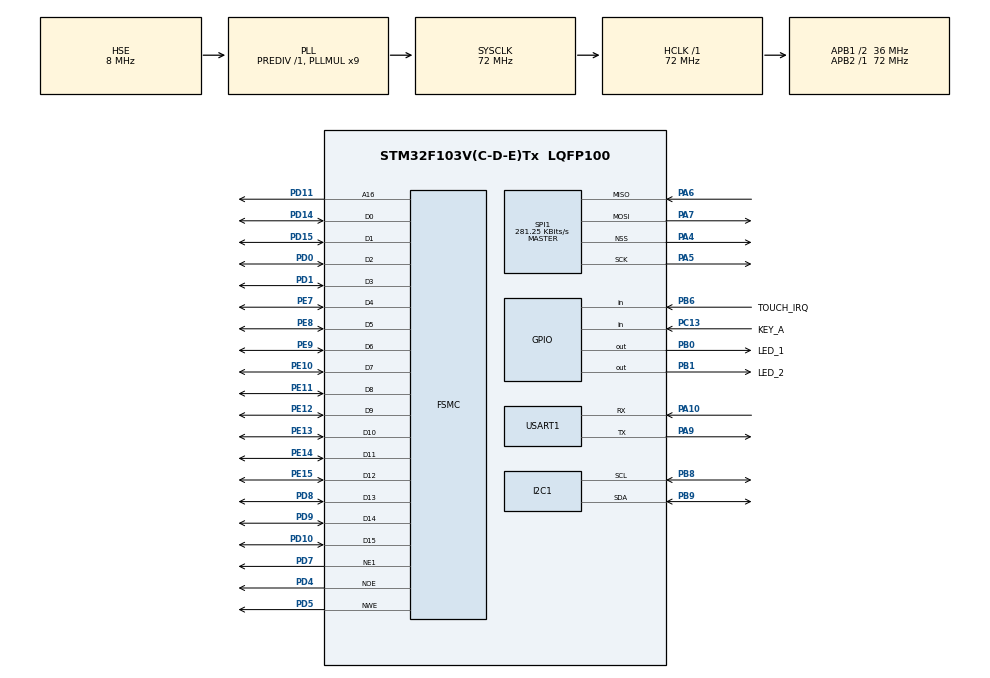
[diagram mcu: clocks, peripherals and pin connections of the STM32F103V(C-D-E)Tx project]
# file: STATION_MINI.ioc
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FSMC.AddressSetupTime1=0
FSMC.BusTurnAroundDuration1=0
FSMC.DataSetupTime1=1
FSMC.ExtendedAddressSetupTime1=0
FSMC.ExtendedBusTurnAroundDuration1=0
FSMC.ExtendedDataSetupTime1=2
FSMC.ExtendedMode1=FSMC_EXTENDED_MODE_ENABLE
Mcu.Family=STM32F1
Mcu.Name=STM32F103V(C-D-E)Tx
Mcu.Package=LQFP100
NVIC.PriorityGroup=NVIC_PRIORITYGROUP_4
NVIC.TIM1_BRK_IRQn=true\:0\:0\:false\:false\:true\:true
NVIC.TIM1_UP_IRQn=true\:0\:0\:false\:false\:true\:true
OSC_IN.Mode=HSE-External-Oscillator
OSC_IN.Signal=RCC_OSC_IN
OSC_OUT.Mode=HSE-External-Oscillator
OSC_OUT.Signal=RCC_OSC_OUT
PA10.Mode=Asynchronous
PA10.Signal=USART1_RX
PA13.Mode=Serial_Wire
PA13.Signal=SYS_JTMS-SWDIO
PA14.Mode=Serial_Wire
PA14.Signal=SYS_JTCK-SWCLK
PA4.Mode=NSS_Signal_Hard_Output
PA4.Signal=SPI1_NSS
PA5.Mode=Full_Duplex_Master
PA5.Signal=SPI1_SCK
PA6.Mode=Full_Duplex_Master
PA6.Signal=SPI1_MISO
PA7.Mode=Full_Duplex_Master
PA7.Signal=SPI1_MOSI
PA9.Mode=Asynchronous
PA9.Signal=USART1_TX
PB0.GPIO_Label=LED_1
PB0.Signal=GPIO_Output
PB1.GPIO_Label=LED_2
PB1.Signal=GPIO_Output
PB6.GPIO_Label=TOUCH_IRQ
PB6.GPIO_PuPd=GPIO_PULLUP
PB6.Signal=GPIO_Input
PB8.Mode=I2C
PB8.Signal=I2C1_SCL
PB9.Mode=I2C
PB9.Signal=I2C1_SDA
PC13-TAMPER-RTC.GPIO_Label=KEY_A
PC13-TAMPER-RTC.GPIO_PuPd=GPIO_PULLDOWN
PC13-TAMPER-RTC.Signal=GPIO_Input
PD0.Mode=16b-d1
PD0.Signal=FSMC_D2
PD1.Mode=16b-d1
PD1.Signal=FSMC_D3
PD10.Mode=16b-d1
PD10.Signal=FSMC_D15
PD11.Mode=A16_1
PD11.Signal=FSMC_A16
PD14.Mode=16b-d1
PD14.Signal=FSMC_D0
PD15.Mode=16b-d1
PD15.Signal=FSMC_D1
PD4.Mode=Lcd1
PD4.Signal=FSMC_NOE
PD5.Mode=Lcd1
PD5.Signal=FSMC_NWE
PD7.Mode=NorPsramChipSelect1_1
PD7.Signal=FSMC_NE1
PD8.Mode=16b-d1
PD8.Signal=FSMC_D13
PD9.Mode=16b-d1
PD9.Signal=FSMC_D14
PE10.Mode=16b-d1
PE10.Signal=FSMC_D7
PE11.Mode=16b-d1
PE11.Signal=FSMC_D8
PE12.Mode=16b-d1
PE12.Signal=FSMC_D9
PE13.Mode=16b-d1
PE13.Signal=FSMC_D10
PE14.Mode=16b-d1
PE14.Signal=FSMC_D11
PE15.Mode=16b-d1
PE15.Signal=FSMC_D12
PE7.Mode=16b-d1
PE7.Signal=FSMC_D4
PE8.Mode=16b-d1
PE8.Signal=FSMC_D5
PE9.Mode=16b-d1
PE9.Signal=FSMC_D6
ProjectManager.HeapSize=0x200
ProjectManager.StackSize=0x400
ProjectManager.TargetToolchain=MDK-ARM V5
RCC.AHBFreq_Value=72000000
RCC.APB1CLKDivider=RCC_HCLK_DIV2
RCC.APB1Freq_Value=36000000
RCC.APB1TimFreq_Value=72000000
RCC.APB2Freq_Value=72000000
RCC.APB2TimFreq_Value=72000000
RCC.HCLKFreq_Value=72000000
RCC.PLLMUL=RCC_PLL_MUL9
RCC.PLLSourceVirtual=RCC_PLLSOURCE_HSE
RCC.RTCClockSelection=RCC_RTCCLKSOURCE_HSE_DIV128
RCC.SYSCLKFreq_VALUE=72000000
RCC.SYSCLKSource=RCC_SYSCLKSOURCE_PLLCLK
RCC.USBFreq_Value=72000000
SPI1.BaudRatePrescaler=SPI_BAUDRATEPRESCALER_256
SPI1.CalculateBaudRate=281.25 KBits/s
SPI1.Direction=SPI_DIRECTION_2LINES
SPI1.Mode=SPI_MODE_MASTER
SPI1.VirtualNSS=VM_NSSHARD
SPI1.VirtualType=VM_MASTER
TIM1.AutoReloadPreload=TIM_AUTORELOAD_PRELOAD_ENABLE
TIM1.Period=7200
TIM1.Prescaler=10
TIM1.TIM_MasterOutputTrigger=TIM_TRGO_UPDATE
USART1.VirtualMode=VM_ASYNC
VP_TIM1_VS_ClockSourceINT.Mode=Internal
board=STATION_MINI

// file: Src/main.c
/**
  ******************************************************************************
  * @file           : main.c
  * @brief          : Main program body
  ******************************************************************************
  ** This notice applies to any and all portions of this file
  * that are not between comment pairs USER CODE BEGIN and
  * USER CODE END. Other portions of this file, whether
  * inserted by the user or by software development tools
  * are owned by their respective copyright owners.
  *
  * COPYRIGHT(c) 2018 STMicroelectronics
  *
  * Redistribution and use in source and binary forms, with or without modification,
  * are permitted provided that the following conditions are met:
  *   1. Redistributions of source code must retain the above copyright notice,
  *      this list of conditions and the following disclaimer.
  *   2. Redistributions in binary form must reproduce the above copyright notice,
  *      this list of conditions and the following disclaimer in the documentation
  *      and/or other materials provided with the distribution.
  *   3. Neither the name of STMicroelectronics nor the names of its contributors
  *      may be used to endorse or promote products derived from this software
  *      without specific prior written permission.
  *
  * THIS SOFTWARE IS PROVIDED BY THE COPYRIGHT HOLDERS AND CONTRIBUTORS "AS IS"
  * AND ANY EXPRESS OR IMPLIED WARRANTIES, INCLUDING, BUT NOT LIMITED TO, THE
  * IMPLIED WARRANTIES OF MERCHANTABILITY AND FITNESS FOR A PARTICULAR PURPOSE ARE
  * DISCLAIMED. IN NO EVENT SHALL THE COPYRIGHT HOLDER OR CONTRIBUTORS BE LIABLE
  * FOR ANY DIRECT, INDIRECT, INCIDENTAL, SPECIAL, EXEMPLARY, OR CONSEQUENTIAL
  * DAMAGES (INCLUDING, BUT NOT LIMITED TO, PROCUREMENT OF SUBSTITUTE GOODS OR
  * SERVICES; LOSS OF USE, DATA, OR PROFITS; OR BUSINESS INTERRUPTION) HOWEVER
  * CAUSED AND ON ANY THEORY OF LIABILITY, WHETHER IN CONTRACT, STRICT LIABILITY,
  * OR TORT (INCLUDING NEGLIGENCE OR OTHERWISE) ARISING IN ANY WAY OUT OF THE USE
  * OF THIS SOFTWARE, EVEN IF ADVISED OF THE POSSIBILITY OF SUCH DAMAGE.
  *
  ******************************************************************************
  */
#include "main.h"
#include "stm32f1xx_hal.h"

/* USER CODE BEGIN Includes */
#include "string.h"
#include "ili9325_fsmc.h"
#include "xpt2046.h"
#include "bme280.h"
#include "ds3231.h"
#include "at24xx.h"

#include "fonts/Dmd8x7Clock.h"
#include "fonts/Dmd13x20Clock.h"
#include "fonts/FreeMono9pt7b.h"
#include "fonts/FreeMono12pt7b.h"
#include "fonts/FreeMono18pt7b.h"
#include "fonts/FreeMono24pt7b.h"
#include "fonts/FreeMonoBold9pt7b.h"
#include "fonts/FreeMonoBold12pt7b.h"
#include "fonts/FreeMonoBold18pt7b.h"
#include "fonts/FreeMonoBold24pt7b.h"
#include "fonts/FreeMonoBoldOblique9pt7b.h"
#include "fonts/FreeMonoBoldOblique12pt7b.h"
#include "fonts/FreeMonoBoldOblique18pt7b.h"
#include "fonts/FreeMonoBoldOblique24pt7b.h"
#include "fonts/FreeMonoOblique9pt7b.h"
#include "fonts/FreeMonoOblique12pt7b.h"
#include "fonts/FreeMonoOblique18pt7b.h"
#include "fonts/FreeMonoOblique24pt7b.h"
#include "fonts/FreeSans9pt7b.h"
#include "fonts/FreeSans12pt7b.h"
#include "fonts/FreeSans18pt7b.h"
#include "fonts/FreeSans24pt7b.h"
#include "fonts/FreeSansBold9pt7b.h"
#include "fonts/FreeSansBold12pt7b.h"
#include "fonts/FreeSansBold18pt7b.h"
#include "fonts/FreeSansBold24pt7b.h"
#include "fonts/FreeSansBoldOblique9pt7b.h"
#include "fonts/FreeSansBoldOblique12pt7b.h"
#include "fonts/FreeSansBoldOblique18pt7b.h"
#include "fonts/FreeSansBoldOblique24pt7b.h"
#include "fonts/FreeSansOblique9pt7b.h"
#include "fonts/FreeSansOblique12pt7b.h"
#include "fonts/FreeSansOblique18pt7b.h"
#include "fonts/FreeSansOblique24pt7b.h"
#include "fonts/FreeSerif9pt7b.h"
#include "fonts/FreeSerif12pt7b.h"
#include "fonts/FreeSerif18pt7b.h"
#include "fonts/FreeSerif24pt7b.h"
#include "fonts/FreeSerifBold9pt7b.h"
#include "fonts/FreeSerifBold12pt7b.h"
#include "fonts/FreeSerifBold18pt7b.h"
#include "fonts/FreeSerifBold24pt7b.h"
#include "fonts/FreeSerifBoldItalic9pt7b.h"
#include "fonts/FreeSerifBoldItalic12pt7b.h"
#include "fonts/FreeSerifBoldItalic18pt7b.h"
#include "fonts/FreeSerifBoldItalic24pt7b.h"
#include "fonts/FreeSerifItalic9pt7b.h"
#include "fonts/FreeSerifItalic12pt7b.h"
#include "fonts/FreeSerifItalic18pt7b.h"
#include "fonts/FreeSerifItalic24pt7b.h"
#include "fonts/FreeSevenSegNum.h"
#include "fonts/Org_01.h"
#include "fonts/Picopixel.h"
#include "fonts/Tiny3x3a2pt7b.h"
#include "fonts/TomThumb.h"
/* USER CODE END Includes */

I2C_HandleTypeDef hi2c1;

SPI_HandleTypeDef hspi1;

TIM_HandleTypeDef htim1;

UART_HandleTypeDef huart1;

SRAM_HandleTypeDef hsram1;

/* USER CODE BEGIN PV */
/* Private variables ---------------------------------------------------------*/
uint8_t rtcSet = 1;
uint64_t millis, millisUpd;
uint8_t rtcSec, rtcMin, rtcHour, rtcDay, rtcDate, rtcMonth, rtcYear,
rtcSecA1, rtcMinA1, rtcHourA1, rtcDayA1, rtcDateA1, rtcMinA2, rtcHourA2, rtcDayA2, rtcDateA2;
float rtcTemp;
float temperature, humidity;
uint16_t pressure;
uint8_t touchIRQ;
uint16_t touchX, touchY;
uint8_t rtcMinLast;

/* USER CODE END PV */

void SystemClock_Config(void);
static void MX_GPIO_Init(void);
static void MX_FSMC_Init(void);
static void MX_USART1_UART_Init(void);
static void MX_TIM1_Init(void);
static void MX_SPI1_Init(void);
static void MX_I2C1_Init(void);

/* USER CODE BEGIN PFP */
/* Private function prototypes -----------------------------------------------*/

/* USER CODE END PFP */

int main(void)
{

  /* MCU Configuration----------------------------------------------------------*/

  /* Reset of all peripherals, Initializes the Flash interface and the Systick. */
  HAL_Init();

  /* Configure the system clock */
  SystemClock_Config();

  /* Initialize all configured peripherals */
  MX_GPIO_Init();
  MX_FSMC_Init();
  MX_USART1_UART_Init();
  MX_TIM1_Init();
  MX_SPI1_Init();
  MX_I2C1_Init();
  /* USER CODE BEGIN 2 */
	HAL_TIM_Base_Start(&htim1);
	HAL_TIM_Base_Start_IT(&htim1);

//	clkDate.WeekDay = RTC_WEEKDAY_TUESDAY;
//  clkDate.Month = RTC_MONTH_JUNE;
//  clkDate.Date = 0x15;
//  clkDate.Year = 0x20;

//  if (HAL_RTC_SetDate(&hrtc, &clkDate, RTC_FORMAT_BCD) != HAL_OK)
//  {
//    _Error_Handler(__FILE__, __LINE__);
//  }

	LCD_Init();
	XPT2046_Init();
	BME280_Init();

//	uint8_t uartTransmit[] = "UART OK\r\n";
//	HAL_UART_Transmit(&huart1, uartTransmit, sizeof(uartTransmit), 100);

	LCD_Rect_Fill(0, 0, 320, 240, BLUE);
	LCD_Rect_Fill(1, 1, 318, 238, BLACK);

//	HAL_Delay(250);
//	LCD_Rect_Fill(0, 0, 160, 128, BLACK);
//	for(uint8_t x = 8; x <= 160; x += 8)
//	{
//		LCD_Line(0, 0, x, 128, 1, GREEN);
//	}
//	for(uint8_t y = 8; y <= 128; y += 8) {
//		LCD_Line(0, 0, 160, y, 1, GREEN);
//	}
//	HAL_Delay(250);

//	uint8_t h = 16;
//	uint8_t w = 20;
//	for(uint8_t i = 0; i < 8; i++)
//	{
//		LCD_Rect(80 - w / 2, 64 - h / 2, w, h, 2, YELLOW);
//		h += 16;
//		w += 20;
//	}
//	HAL_Delay(250);
//	LCD_Rect_Fill(0, 0, 160, 128, BLUE);
//	LCD_Rect_Fill(1, 1, 158, 126, BLACK);
//	LCD_Font(5, 40, "This is\n just a Test\nST7735\n", Thumb, 1, YELLOW);
//	LCD_Line(23, 20, 137, 20, 1, MAGENTA);
//	LCD_Line(23, 21, 137, 21, 1, BLUE);
//	LCD_Line(23, 21, 137, 21, 1, BLUE);
//	LCD_Font(41, 10, "SSD1289 DRIVER", Org, 1, MAGENTA);
//	LCD_Font(45, 35, "STM 32 HAL", SerifBold9, 1, RED);
//	LCD_Circle(40, 90, 30, 0, 1, RED);
//	LCD_Circle(45, 90, 20, 1, 1, BLUE);
//	LCD_Triangle(5, 5, 5, 20, 25, 25, 2, BLUE);
//	LCD_Rect(60, 45, 30, 20, 2, GREEN);
//	LCD_Rect_Round(80, 70, 60, 25, 10, 3, WHITE);
//	LCD_Rect_Round_Fill(80, 100, 60, 25, 10, WHITE);
//	LCD_Ellipse(60, 100, 30, 20, 0, 2, YELLOW);
//	LCD_Ellipse(125, 60, 25, 15, 1, 1, YELLOW);
//	LCD_Font(0, 200, "1234567890", SevenSegNum, 1, RED);
//	LCD_Font(10, 220, "1234567890 TEST FONT", Clock8x7, 1, RED);

	LCD_Rect_Fill(108, 200, 1, 1, WHITE);
	LCD_Rect_Fill(214, 200, 1, 1, WHITE);

  /* USER CODE END 2 */

  /* Infinite loop */
  /* USER CODE BEGIN WHILE */
  while (1)
  {

		if (HAL_GPIO_ReadPin(GPIOC, GPIO_PIN_13) == GPIO_PIN_RESET)
		{
		HAL_GPIO_WritePin(GPIOB, GPIO_PIN_0, GPIO_PIN_SET);
		rtcSet = 0;
		}
		else
		{
		HAL_GPIO_WritePin(GPIOB, GPIO_PIN_0, GPIO_PIN_RESET);
		}

		if (millis / 1000 % 2 == 0)
		{
		HAL_GPIO_WritePin(GPIOB, GPIO_PIN_1, GPIO_PIN_SET);
		}
		else
		{
		HAL_GPIO_WritePin(GPIOB, GPIO_PIN_1, GPIO_PIN_RESET);
		}

		if (!rtcSet)
		{
		DS3231_setSec(0);
		DS3231_setMin(17);
		DS3231_setHrs(15);
		DS3231_setDay(3);
		DS3231_setDate(8);
		DS3231_setMonth(5);
		DS3231_setYear(18);
		rtcSet = 1;
		}

		if (millisUpd != millis / 250)
		{
			millisUpd = millis / 250;
			DS3231_Update();
			rtcSec = DS3231_getSec();
			rtcMin = DS3231_getMin();
			rtcHour = DS3231_getHrs();
			rtcDay = DS3231_getDay();
			rtcDate = DS3231_getDate();
			rtcMonth = DS3231_getMonth();
			rtcYear = DS3231_getYear();
			rtcSecA1 = DS3231_getAlarm1Sec();
			rtcMinA1 = DS3231_getAlarm1Min();
			rtcHourA1 = DS3231_getAlarm1Hour();
			rtcDayA1 = DS3231_getAlarm1Day();
			rtcDateA1 = DS3231_getAlarm1Date();
			rtcMinA2 = DS3231_getAlarm2Min();
			rtcHourA2 = DS3231_getAlarm2Hour();
			rtcDayA2 = DS3231_getAlarm2Day();
			rtcDateA2 = DS3231_getAlarm2Date();
			rtcTemp = DS3231_getTemp();

			if (rtcSec % 2 == 0) LCD_Font(70, 36, ":", SansBold24, 1, RED);
			else LCD_Font(70, 36, ":", SansBold24, 1, BLACK);

			char clockHour[2], clockMin[2]/*, clockSec[2] */;
			sprintf(clockHour, "%02d", rtcHour);
			sprintf(clockMin, "%02d", rtcMin);
			sprintf(clockMin, "%02d", rtcMin);

			if (rtcMinLast != rtcMin)
			{
				rtcMinLast = rtcMin;
				LCD_Rect_Fill(1, 1, 64, 49, WHITE);
				LCD_Rect_Fill(2, 2, 62, 47, BLACK);
				LCD_Font(2, 50, clockHour, SevenSegNum, 1, RED);

				LCD_Rect_Fill(85, 1, 64, 49, WHITE);
				LCD_Rect_Fill(86, 2, 62, 47, BLACK);
				LCD_Font(86, 50, clockMin, SevenSegNum, 1, RED);
			}

			char bme280T[2], bme280H[2], bme280P[4];

			if (temperature != BME280_getTemperature(-1))
			{
				temperature = BME280_getTemperature(-1);
				LCD_Rect_Fill(1, 200, 92, 39, WHITE);
				LCD_Rect_Fill(2, 201, 90, 37, BLACK);
				if (temperature > -10)
				{
					if (temperature >= 10 || temperature < 0)
					{
					sprintf(bme280T, "%.1f", temperature);
					LCD_Font(2, 235, bme280T, SansBold24, 1, RED);
					}
					else
					{
					sprintf(bme280T, " %.1f", temperature);
					LCD_Font(2, 235, bme280T, SansBold24, 1, RED);
					}
				}
			}

			if (humidity != BME280_getHumidity(-1))
			{
				humidity = BME280_getHumidity(-1);
				LCD_Rect_Fill(107, 200, 92, 39, WHITE);
				LCD_Rect_Fill(108, 201, 90, 37, BLACK);
				if (humidity >= 10)
				{
				sprintf(bme280H, "%.1f", humidity);
				LCD_Font(108, 235, bme280H, SansBold24, 1, RED);
				}
				else
				{
				sprintf(bme280H, " %.1f", humidity);
				LCD_Font(108, 235, bme280H, SansBold24, 1, RED);
				}
			}

			if (pressure != BME280_getPressure())
			{
				pressure = BME280_getPressure();
				LCD_Rect_Fill(213, 200, 106, 39, WHITE);
				LCD_Rect_Fill(214, 201, 104, 37, BLACK);
				if (pressure >= 1000)
				{
				sprintf(bme280P, "%04d", pressure);
				LCD_Font(214, 235, bme280P, SansBold24, 1, RED);
				}
				else
				{
				sprintf(bme280P, " %03d", pressure);
				LCD_Font(214, 235, bme280P, SansBold24, 1, RED);
				}
			}

		}

  /* USER CODE END WHILE */

  /* USER CODE BEGIN 3 */
		if (HAL_GPIO_ReadPin(GPIOB, GPIO_PIN_6) == GPIO_PIN_SET) touchIRQ = 1;

		if (touchIRQ)
		{
		touchX = getX();
		touchY = getY();
		if (touchX && touchY && touchX != 0x0DB)
		{
		LCD_Rect_Fill(touchX, touchY, 1, 1, WHITE);
		}
//		HAL_GPIO_WritePin(GPIOB, GPIO_PIN_1, GPIO_PIN_RESET);
		touchX = 0;
		touchY = 0;
		touchIRQ = 0;
		}
//		else
//		HAL_GPIO_WritePin(GPIOB, GPIO_PIN_1, GPIO_PIN_SET);

  }
  /* USER CODE END 3 */

}

void SystemClock_Config(void)
{

  RCC_OscInitTypeDef RCC_OscInitStruct;
  RCC_ClkInitTypeDef RCC_ClkInitStruct;

    /**Initializes the CPU, AHB and APB busses clocks
    */
  RCC_OscInitStruct.OscillatorType = RCC_OSCILLATORTYPE_HSE;
  RCC_OscInitStruct.HSEState = RCC_HSE_ON;
  RCC_OscInitStruct.HSEPredivValue = RCC_HSE_PREDIV_DIV1;
  RCC_OscInitStruct.HSIState = RCC_HSI_ON;
  RCC_OscInitStruct.PLL.PLLState = RCC_PLL_ON;
  RCC_OscInitStruct.PLL.PLLSource = RCC_PLLSOURCE_HSE;
  RCC_OscInitStruct.PLL.PLLMUL = RCC_PLL_MUL9;
  if (HAL_RCC_OscConfig(&RCC_OscInitStruct) != HAL_OK)
  {
    _Error_Handler(__FILE__, __LINE__);
  }

    /**Initializes the CPU, AHB and APB busses clocks
    */
  RCC_ClkInitStruct.ClockType = RCC_CLOCKTYPE_HCLK|RCC_CLOCKTYPE_SYSCLK
                              |RCC_CLOCKTYPE_PCLK1|RCC_CLOCKTYPE_PCLK2;
  RCC_ClkInitStruct.SYSCLKSource = RCC_SYSCLKSOURCE_PLLCLK;
  RCC_ClkInitStruct.AHBCLKDivider = RCC_SYSCLK_DIV1;
  RCC_ClkInitStruct.APB1CLKDivider = RCC_HCLK_DIV2;
  RCC_ClkInitStruct.APB2CLKDivider = RCC_HCLK_DIV1;

  if (HAL_RCC_ClockConfig(&RCC_ClkInitStruct, FLASH_LATENCY_2) != HAL_OK)
  {
    _Error_Handler(__FILE__, __LINE__);
  }

    /**Configure the Systick interrupt time
    */
  HAL_SYSTICK_Config(HAL_RCC_GetHCLKFreq()/1000);

    /**Configure the Systick
    */
  HAL_SYSTICK_CLKSourceConfig(SYSTICK_CLKSOURCE_HCLK);

  /* SysTick_IRQn interrupt configuration */
  HAL_NVIC_SetPriority(SysTick_IRQn, 0, 0);
}

/* I2C1 init function */
static void MX_I2C1_Init(void)
{

  hi2c1.Instance = I2C1;
  hi2c1.Init.ClockSpeed = 100000;
  hi2c1.Init.DutyCycle = I2C_DUTYCYCLE_2;
  hi2c1.Init.OwnAddress1 = 0;
  hi2c1.Init.AddressingMode = I2C_ADDRESSINGMODE_7BIT;
  hi2c1.Init.DualAddressMode = I2C_DUALADDRESS_DISABLE;
  hi2c1.Init.OwnAddress2 = 0;
  hi2c1.Init.GeneralCallMode = I2C_GENERALCALL_DISABLE;
  hi2c1.Init.NoStretchMode = I2C_NOSTRETCH_DISABLE;
  if (HAL_I2C_Init(&hi2c1) != HAL_OK)
  {
    _Error_Handler(__FILE__, __LINE__);
  }

}

/* SPI1 init function */
static void MX_SPI1_Init(void)
{

  /* SPI1 parameter configuration*/
  hspi1.Instance = SPI1;
  hspi1.Init.Mode = SPI_MODE_MASTER;
  hspi1.Init.Direction = SPI_DIRECTION_2LINES;
  hspi1.Init.DataSize = SPI_DATASIZE_8BIT;
  hspi1.Init.CLKPolarity = SPI_POLARITY_LOW;
  hspi1.Init.CLKPhase = SPI_PHASE_1EDGE;
  hspi1.Init.NSS = SPI_NSS_HARD_OUTPUT;
  hspi1.Init.BaudRatePrescaler = SPI_BAUDRATEPRESCALER_256;
  hspi1.Init.FirstBit = SPI_FIRSTBIT_MSB;
  hspi1.Init.TIMode = SPI_TIMODE_DISABLE;
  hspi1.Init.CRCCalculation = SPI_CRCCALCULATION_DISABLE;
  hspi1.Init.CRCPolynomial = 10;
  if (HAL_SPI_Init(&hspi1) != HAL_OK)
  {
    _Error_Handler(__FILE__, __LINE__);
  }

}

/* TIM1 init function */
static void MX_TIM1_Init(void)
{

  TIM_ClockConfigTypeDef sClockSourceConfig;
  TIM_MasterConfigTypeDef sMasterConfig;

  htim1.Instance = TIM1;
  htim1.Init.Prescaler = 10;
  htim1.Init.CounterMode = TIM_COUNTERMODE_UP;
  htim1.Init.Period = 7200;
  htim1.Init.ClockDivision = TIM_CLOCKDIVISION_DIV1;
  htim1.Init.RepetitionCounter = 0;
  htim1.Init.AutoReloadPreload = TIM_AUTORELOAD_PRELOAD_ENABLE;
  if (HAL_TIM_Base_Init(&htim1) != HAL_OK)
  {
    _Error_Handler(__FILE__, __LINE__);
  }

  sClockSourceConfig.ClockSource = TIM_CLOCKSOURCE_INTERNAL;
  if (HAL_TIM_ConfigClockSource(&htim1, &sClockSourceConfig) != HAL_OK)
  {
    _Error_Handler(__FILE__, __LINE__);
  }

  sMasterConfig.MasterOutputTrigger = TIM_TRGO_UPDATE;
  sMasterConfig.MasterSlaveMode = TIM_MASTERSLAVEMODE_DISABLE;
  if (HAL_TIMEx_MasterConfigSynchronization(&htim1, &sMasterConfig) != HAL_OK)
  {
    _Error_Handler(__FILE__, __LINE__);
  }

}

/* USART1 init function */
static void MX_USART1_UART_Init(void)
{

  huart1.Instance = USART1;
  huart1.Init.BaudRate = 115200;
  huart1.Init.WordLength = UART_WORDLENGTH_8B;
  huart1.Init.StopBits = UART_STOPBITS_1;
  huart1.Init.Parity = UART_PARITY_NONE;
  huart1.Init.Mode = UART_MODE_TX_RX;
  huart1.Init.HwFlowCtl = UART_HWCONTROL_NONE;
  huart1.Init.OverSampling = UART_OVERSAMPLING_16;
  if (HAL_UART_Init(&huart1) != HAL_OK)
  {
    _Error_Handler(__FILE__, __LINE__);
  }

}

/** Configure pins as
        * Analog
        * Input
        * Output
        * EVENT_OUT
        * EXTI
*/
static void MX_GPIO_Init(void)
{

  GPIO_InitTypeDef GPIO_InitStruct;

  /* GPIO Ports Clock Enable */
  __HAL_RCC_GPIOC_CLK_ENABLE();
  __HAL_RCC_GPIOA_CLK_ENABLE();
  __HAL_RCC_GPIOB_CLK_ENABLE();
  __HAL_RCC_GPIOE_CLK_ENABLE();
  __HAL_RCC_GPIOD_CLK_ENABLE();

  /*Configure GPIO pin Output Level */
  HAL_GPIO_WritePin(GPIOB, LED_1_Pin|LED_2_Pin, GPIO_PIN_RESET);

  /*Configure GPIO pin : KEY_A_Pin */
  GPIO_InitStruct.Pin = KEY_A_Pin;
  GPIO_InitStruct.Mode = GPIO_MODE_INPUT;
  GPIO_InitStruct.Pull = GPIO_PULLDOWN;
  HAL_GPIO_Init(KEY_A_GPIO_Port, &GPIO_InitStruct);

  /*Configure GPIO pins : LED_1_Pin LED_2_Pin */
  GPIO_InitStruct.Pin = LED_1_Pin|LED_2_Pin;
  GPIO_InitStruct.Mode = GPIO_MODE_OUTPUT_PP;
  GPIO_InitStruct.Speed = GPIO_SPEED_FREQ_LOW;
  HAL_GPIO_Init(GPIOB, &GPIO_InitStruct);

  /*Configure GPIO pin : TOUCH_IRQ_Pin */
  GPIO_InitStruct.Pin = TOUCH_IRQ_Pin;
  GPIO_InitStruct.Mode = GPIO_MODE_INPUT;
  GPIO_InitStruct.Pull = GPIO_PULLUP;
  HAL_GPIO_Init(TOUCH_IRQ_GPIO_Port, &GPIO_InitStruct);

}

/* FSMC initialization function */
static void MX_FSMC_Init(void)
{
  FSMC_NORSRAM_TimingTypeDef Timing;
  FSMC_NORSRAM_TimingTypeDef ExtTiming;

  /** Perform the SRAM1 memory initialization sequence
  */
  hsram1.Instance = FSMC_NORSRAM_DEVICE;
  hsram1.Extended = FSMC_NORSRAM_EXTENDED_DEVICE;
  /* hsram1.Init */
  hsram1.Init.NSBank = FSMC_NORSRAM_BANK1;
  hsram1.Init.DataAddressMux = FSMC_DATA_ADDRESS_MUX_DISABLE;
  hsram1.Init.MemoryType = FSMC_MEMORY_TYPE_SRAM;
  hsram1.Init.MemoryDataWidth = FSMC_NORSRAM_MEM_BUS_WIDTH_16;
  hsram1.Init.BurstAccessMode = FSMC_BURST_ACCESS_MODE_DISABLE;
  hsram1.Init.WaitSignalPolarity = FSMC_WAIT_SIGNAL_POLARITY_LOW;
  hsram1.Init.WrapMode = FSMC_WRAP_MODE_DISABLE;
  hsram1.Init.WaitSignalActive = FSMC_WAIT_TIMING_BEFORE_WS;
  hsram1.Init.WriteOperation = FSMC_WRITE_OPERATION_ENABLE;
  hsram1.Init.WaitSignal = FSMC_WAIT_SIGNAL_DISABLE;
  hsram1.Init.ExtendedMode = FSMC_EXTENDED_MODE_ENABLE;
  hsram1.Init.AsynchronousWait = FSMC_ASYNCHRONOUS_WAIT_DISABLE;
  hsram1.Init.WriteBurst = FSMC_WRITE_BURST_DISABLE;
  /* Timing */
  Timing.AddressSetupTime = 0;
  Timing.AddressHoldTime = 15;
  Timing.DataSetupTime = 1;
  Timing.BusTurnAroundDuration = 0;
  Timing.CLKDivision = 16;
  Timing.DataLatency = 17;
  Timing.AccessMode = FSMC_ACCESS_MODE_A;
  /* ExtTiming */
  ExtTiming.AddressSetupTime = 0;
  ExtTiming.AddressHoldTime = 15;
  ExtTiming.DataSetupTime = 2;
  ExtTiming.BusTurnAroundDuration = 0;
  ExtTiming.CLKDivision = 16;
  ExtTiming.DataLatency = 17;
  ExtTiming.AccessMode = FSMC_ACCESS_MODE_A;

  if (HAL_SRAM_Init(&hsram1, &Timing, &ExtTiming) != HAL_OK)
  {
    _Error_Handler(__FILE__, __LINE__);
  }

  /** Disconnect NADV
  */

  __HAL_AFIO_FSMCNADV_DISCONNECTED();

}

void _Error_Handler(char *file, int line)
{
  while(1)
  {
  }
}

/************************ (C) COPYRIGHT STMicroelectronics *****END OF FILE****/
